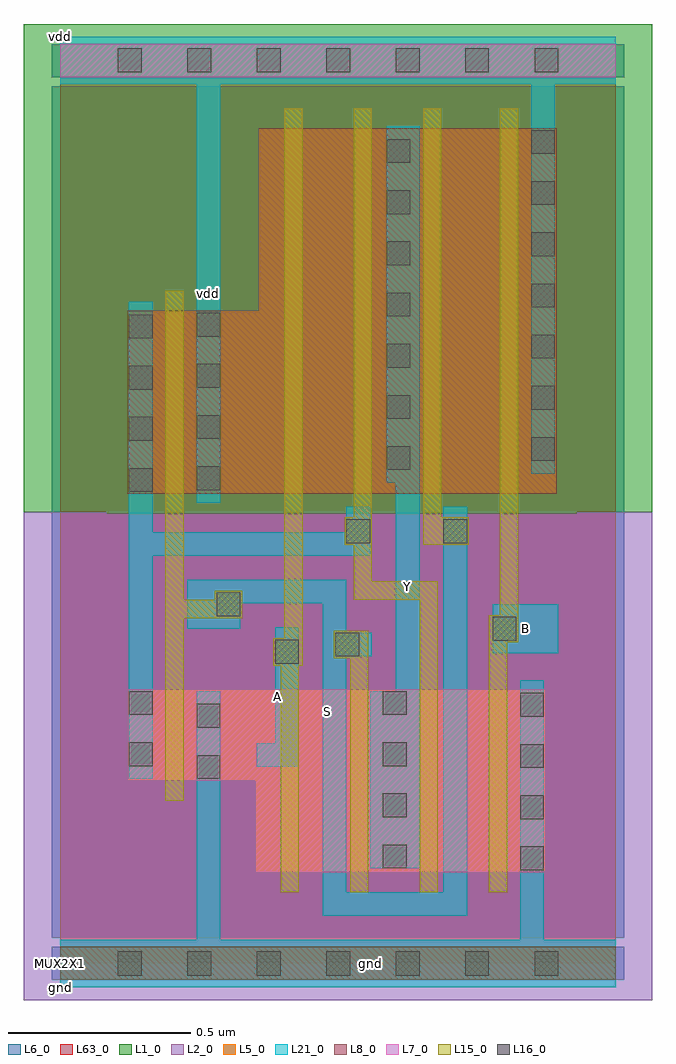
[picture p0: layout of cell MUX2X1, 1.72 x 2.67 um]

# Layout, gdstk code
import gdstk
lib = gdstk.Library(unit=1e-6, precision=1e-09)
def R(c, l, rs):  # rectangles x0, y0, x1, y1
    for r in rs: c.add(gdstk.rectangle(r[:2], r[2:], *l))
def A(c, l, x, y, w, h, nx, ny, dx, dy):  # array of equal rectangles
    R(c, l, [(x+i*dx, y+j*dy, x+i*dx+w, y+j*dy+h) for i in range(nx) for j in range(ny)])
def P(c, l, *ps):  # polygons
    for p in ps: c.add(gdstk.Polygon(p, *l))
L1_0 = (1, 0)
L2_0 = (2, 0)
L5_0 = (5, 0)
L6_0 = (6, 0)
L7_0 = (7, 0)
L8_0 = (8, 0)
L15_0 = (15, 0)
L16_0 = (16, 0)
L21_0 = (21, 0)
L63_0 = (63, 0)

mux2x1 = lib.new_cell('MUX2X1')
P(mux2x1, L1_0, [(-0.1,2.57),(1.62,2.57),(1.62,1.235),(1.413,1.235),(1.413,1.23),(0.128,1.23),(0.128,1.235),(-0.1,1.235)])
P(mux2x1, L2_0, [(-0.1,1.235),(0.128,1.235),(0.128,1.23),(1.413,1.23),(1.413,1.235),(1.62,1.235),(1.62,-0.1),(-0.1,-0.1)])
A(mux2x1, L5_0, 0.603, 0.25, 0.05, 0.5, 4, 1, 0.19, 0)
A(mux2x1, L5_0, 0.653, 0.25, 0.14, 0.5, 3, 1, 0.19, 0)
A(mux2x1, L5_0, 0.613, 1.285, 0.05, 1, 3, 1, 0.19, 0)
R(mux2x1, L5_0, [(0,-0.045,1.52,0.045), (1.223,0.25,1.328,0.75), (0.183,0.5,0.288,0.75), (0.288,0.5,0.338,0.75), (0.183,1.285,0.288,1.785), (0.288,1.285,0.338,1.785), (0.663,1.285,0.803,2.285), (0.853,1.285,0.993,2.285), (1.043,1.285,1.203,2.285), (1.203,1.285,1.253,2.285), (1.253,1.285,1.358,2.285), (0,2.425,1.52,2.515)])
P(mux2x1, L5_0, [(0.603,0.75),(0.603,0.25),(0.533,0.25),(0.533,0.5),(0.338,0.5),(0.338,0.75)],
  [(0.543,1.785),(0.543,2.285),(0.613,2.285),(0.613,1.285),(0.338,1.285),(0.338,1.785)])
R(mux2x1, L6_0, [(-0.023,-0.045,1.543,0.045), (-0.023,-0.045,1.543,0.045), (-0.023,2.425,1.543,2.515), (-0.023,2.425,1.543,2.515)])
P(mux2x1, L6_0, [(0.128,1.235),(0.128,1.23),(1.413,1.23),(1.413,1.235),(1.543,1.235),(1.543,0.07),(-0.023,0.07),(-0.023,1.235)],
  [(-0.023,1.235),(-0.023,2.4),(1.543,2.4),(1.543,1.235),(1.413,1.235),(1.413,1.23),(0.128,1.23),(0.128,1.235)])
A(mux2x1, L7_0, 0.603, 0.25, 0.05, 0.5, 4, 1, 0.19, 0)
A(mux2x1, L7_0, 0.653, 0.25, 0.14, 0.5, 3, 1, 0.19, 0)
R(mux2x1, L7_0, [(1.223,0.25,1.328,0.75), (0.183,0.5,0.288,0.75), (0.288,0.5,0.338,0.75), (0,2.425,1.52,2.515)])
P(mux2x1, L7_0, [(0.603,0.75),(0.603,0.25),(0.533,0.25),(0.533,0.5),(0.338,0.5),(0.338,0.75)])
A(mux2x1, L8_0, 0.613, 1.285, 0.05, 1, 3, 1, 0.19, 0)
R(mux2x1, L8_0, [(0,-0.045,1.52,0.045), (0.183,1.285,0.288,1.785), (0.288,1.285,0.338,1.785), (0.663,1.285,0.803,2.285), (0.853,1.285,0.993,2.285), (1.043,1.285,1.203,2.285), (1.203,1.285,1.253,2.285), (1.253,1.285,1.358,2.285)])
P(mux2x1, L8_0, [(0.543,1.785),(0.543,2.285),(0.613,2.285),(0.613,1.285),(0.338,1.285),(0.338,1.785)])
A(mux2x1, L15_0, 0.603, 0.195, 0.05, 0.055, 4, 1, 0.19, 0)
A(mux2x1, L15_0, 0.603, 0.25, 0.05, 0.5, 4, 1, 0.19, 0)
A(mux2x1, L15_0, 0.613, 1.285, 0.05, 1, 3, 1, 0.19, 0)
A(mux2x1, L15_0, 0.613, 2.285, 0.05, 0.055, 3, 1, 0.19, 0)
R(mux2x1, L15_0, [(0.288,0.445,0.338,0.5), (0.288,0.5,0.338,0.75), (0.288,1.285,0.338,1.785), (1.203,1.285,1.253,2.285), (0.288,1.785,0.338,1.84), (1.203,2.285,1.253,2.34)])
P(mux2x1, L15_0, [(0.288,1.285),(0.338,1.285),(0.338,0.995),(0.423,0.995),(0.423,1.02),(0.498,1.02),(0.498,0.945),(0.338,0.945),(0.338,0.75),(0.288,0.75)],
  [(0.603,0.815),(0.583,0.815),(0.583,0.89),(0.613,0.89),(0.613,1.285),(0.663,1.285),(0.663,0.815),(0.653,0.815),(0.653,0.75),(0.603,0.75)],
  [(0.793,0.835),(0.748,0.835),(0.748,0.91),(0.843,0.91),(0.843,0.75),(0.793,0.75)],
  [(0.803,1.22),(0.803,1.285),(0.853,1.285),(0.853,1.045),(1.033,1.045),(1.033,0.75),(0.983,0.75),(0.983,0.995),(0.803,0.995),(0.803,1.145),(0.778,1.145),(0.778,1.22)],
  [(1.043,1.22),(1.118,1.22),(1.118,1.145),(0.993,1.145),(0.993,1.285),(1.043,1.285)],
  [(1.173,0.953),(1.203,0.953),(1.203,1.285),(1.253,1.285),(1.253,0.878),(1.223,0.878),(1.223,0.75),(1.173,0.75)])
A(mux2x1, L16_0, 0.158, -0.033, 0.065, 0.066, 7, 1, 0.19, 0)
A(mux2x1, L16_0, 1.258, 0.255, 0.065, 0.065, 1, 4, 0, 0.14)
A(mux2x1, L16_0, 0.883, 0.26, 0.065, 0.065, 1, 4, 0, 0.14)
A(mux2x1, L16_0, 0.188, 1.29, 0.065, 0.065, 1, 4, 0, 0.14)
A(mux2x1, L16_0, 0.373, 1.295, 0.065, 0.065, 1, 4, 0, 0.14)
A(mux2x1, L16_0, 0.893, 1.35, 0.065, 0.065, 1, 7, 0, 0.14)
A(mux2x1, L16_0, 1.288, 1.375, 0.065, 0.065, 1, 7, 0, 0.14)
A(mux2x1, L16_0, 0.158, 2.438, 0.065, 0.065, 7, 1, 0.19, 0)
R(mux2x1, L16_0, [(0.373,0.505,0.438,0.57), (0.188,0.54,0.253,0.605), (0.373,0.645,0.438,0.71), (0.188,0.68,0.253,0.745), (0.588,0.82,0.653,0.885), (0.753,0.84,0.818,0.905), (1.183,0.883,1.248,0.948), (0.428,0.95,0.493,1.015), (0.783,1.15,0.848,1.215), (1.048,1.15,1.113,1.215)])
R(mux2x1, L21_0, [(1.183,0.848,1.363,0.983)])
P(mux2x1, L21_0, [(0,2.405),(0,2.535),(1.52,2.535),(1.52,2.405),(1.353,2.405),(1.353,1.34),(1.288,1.34),(1.288,2.405),(0.438,2.405),(0.438,1.26),(0.373,1.26),(0.373,2.405)],
  [(0,-0.065),(0,0.065),(0.373,0.065),(0.373,0.745),(0.438,0.745),(0.438,0.065),(1.258,0.065),(1.258,0.775),(1.323,0.775),(1.323,0.065),(1.52,0.065),(1.52,-0.065)],
  [(0.253,1.18),(0.783,1.18),(0.783,1.25),(0.848,1.25),(0.848,1.115),(0.253,1.115),(0.253,0.505),(0.188,0.505),(0.188,1.81),(0.253,1.81)],
  [(0.348,0.915),(0.348,1.05),(0.783,1.05),(0.783,0.905),(0.853,0.905),(0.853,0.84),(0.783,0.84),(0.783,0.195),(1.048,0.195),(1.048,1.25),(1.113,1.25),(1.113,0.13),(0.718,0.13),(0.718,0.985),(0.493,0.985),(0.493,0.915)],
  [(0.918,0.745),(0.918,1.315),(0.893,1.315),(0.893,2.29),(0.983,2.29),(0.983,0.26),(0.848,0.26),(0.848,0.745)],
  [(0.588,0.603),(0.588,0.92),(0.653,0.92),(0.653,0.538),(0.538,0.538),(0.538,0.603)])
R(mux2x1, L63_0, [(0,0,1.52,2.47)])
mux2x1.add(gdstk.Label('vdd', (0.405,1.833), layer=21, texttype=1))
mux2x1.add(gdstk.Label('gnd', (0.848,0), layer=21, texttype=1))
mux2x1.add(gdstk.Label('S', (0.73,0.69), layer=21, texttype=1))
mux2x1.add(gdstk.Label('B', (1.273,0.915), layer=21, texttype=1))
mux2x1.add(gdstk.Label('Y', (0.95,1.03), layer=21, texttype=1))
mux2x1.add(gdstk.Label('A', (0.595,0.729), layer=21, texttype=1))
mux2x1.add(gdstk.Label('vdd', (0,2.535), layer=21, texttype=2))
mux2x1.add(gdstk.Label('gnd', (0,-0.065), layer=21, texttype=2))
mux2x1.add(gdstk.Label('MUX2X1', (0,0), layer=63, texttype=1))

lib.write_gds('MUX2X1.gds')
